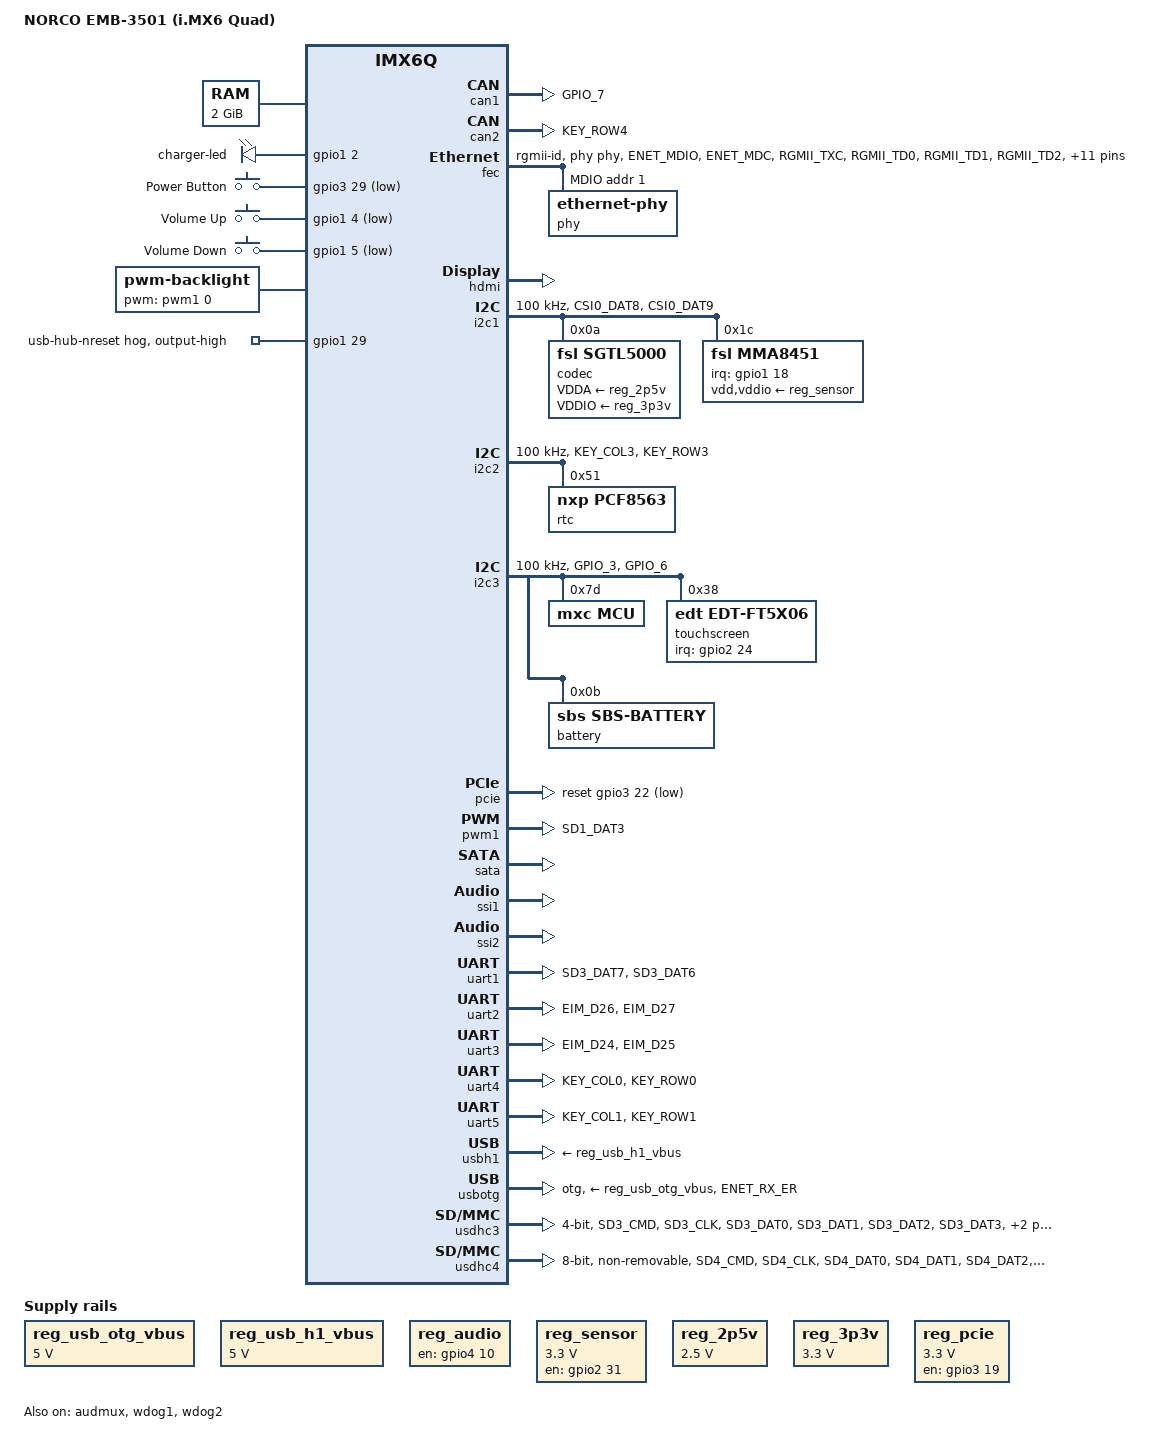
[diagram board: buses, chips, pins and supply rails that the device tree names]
/*
 * NORCO EMB-3501 (i.MX6Q) - board device tree, mainline (6.18) flavour
 *
 * Reconstructed from a decompiled DTB of Linux 3.14.52 (NXP imx_3.14.52_1.1.0_ga),
 * then reviewed against mainline bindings and a 6.18.63 Armbian boot log.
 * Vendor-only nodes with no mainline driver (mxcfb, fsl,lcd, v4l2 capture/output,
 * dcic, max8903 vendor binding, gpio-init, gpio-reset) were removed; see the
 * review notes for what each one did and what replaces it.
 *
 * Copyright 2012 Freescale Semiconductor, Inc.
 * Copyright 2011 Linaro Ltd.
 *
 * The code contained herein is licensed under the GNU General Public
 * License. You may obtain a copy of the GNU General Public License
 * Version 2 or later at the following locations:
 *
 * http://www.opensource.org/licenses/gpl-license.html
 * http://www.gnu.org/copyleft/gpl.html
 */

/dts-v1/;

#include <dt-bindings/gpio/gpio.h>
#include <dt-bindings/input/input.h>
#include <dt-bindings/interrupt-controller/irq.h>
#include <dt-bindings/clock/imx6qdl-clock.h>
#include "imx6q.dtsi"

/ {
	model = "NORCO EMB-3501 (i.MX6 Quad)";
	/* sabresd kept as fallback so anything matching on it keeps working */
	compatible = "norco,emb3501", "fsl,imx6q-sabresd", "fsl,imx6q";

	chosen {
		stdout-path = &uart1;
	};

	/*
	 * U-Boot rewrites this node from the detected RAM, which hid two bugs:
	 * the 1 GiB size and the missing device_type (the kernel ignores a
	 * memory node without it).
	 */
	memory@10000000 {
		device_type = "memory";
		reg = <0x10000000 0x80000000>;
	};

	/* NORCO addition; no mainline consumer, kept for userspace tools */
	board-info {
		compatible = "imx6qdl-sabresd,model";

		model_info {
			compatible = "imx6qdl-sabresd,model_special";
			model_number = "3501";
		};
	};

	leds {
		compatible = "gpio-leds";

		/*
		 * Was linux,default-trigger = "max8903-charger-charging", which
		 * only existed in the vendor charger driver. Pick a trigger from
		 * the power-supply that ends up driving the charger.
		 */
		charger-led {
			gpios = <&gpio1 2 GPIO_ACTIVE_HIGH>;
			default-state = "off";
			retain-state-suspended;
		};
	};

	regulators {
		compatible = "simple-bus";
		#address-cells = <1>;
		#size-cells = <0>;

		/*
		 * Unlike stock SABRE-SD, the USB VBUS regulators have no GPIO here
		 * (GPIO3_IO22 and GPIO1_IO29 are PCIe / USB-hub resets), so these
		 * are plain fixed supplies.
		 */
		reg_usb_otg_vbus: regulator@0 {
			compatible = "regulator-fixed";
			reg = <0>;
			regulator-name = "usb_otg_vbus";
			regulator-min-microvolt = <5000000>;
			regulator-max-microvolt = <5000000>;
		};

		reg_usb_h1_vbus: regulator@1 {
			compatible = "regulator-fixed";
			reg = <1>;
			regulator-name = "usb_h1_vbus";
			regulator-min-microvolt = <5000000>;
			regulator-max-microvolt = <5000000>;
		};

		/*
		 * Leftover from the WM8962 reference design, nothing consumes it.
		 * Kept because it drives GPIO4_IO10 low at boot exactly as the
		 * vendor blob did; remove once that pin's real role is known.
		 */
		reg_audio: regulator@2 {
			compatible = "regulator-fixed";
			reg = <2>;
			regulator-name = "wm8962-supply";
			gpio = <&gpio4 10 GPIO_ACTIVE_HIGH>;
			enable-active-high;
		};

		reg_sensor: regulator@3 {
			compatible = "regulator-fixed";
			reg = <3>;
			regulator-name = "sensor-supply";
			regulator-min-microvolt = <3300000>;
			regulator-max-microvolt = <3300000>;
			gpio = <&gpio2 31 GPIO_ACTIVE_HIGH>;
			startup-delay-us = <500>;
			enable-active-high;
		};

		/* SGTL5000 analog / IO rails (board addition) */
		reg_2p5v: regulator@4 {
			compatible = "regulator-fixed";
			reg = <4>;
			regulator-name = "2P5V";
			regulator-min-microvolt = <2500000>;
			regulator-max-microvolt = <2500000>;
			regulator-always-on;
		};

		reg_3p3v: regulator@5 {
			compatible = "regulator-fixed";
			reg = <5>;
			regulator-name = "3P3V";
			regulator-min-microvolt = <3300000>;
			regulator-max-microvolt = <3300000>;
			regulator-always-on;
		};

		/* was "power-on-gpio" on &pcie (vendor property) */
		reg_pcie: regulator@6 {
			compatible = "regulator-fixed";
			reg = <6>;
			regulator-name = "mpcie_3v3";
			regulator-min-microvolt = <3300000>;
			regulator-max-microvolt = <3300000>;
			gpio = <&gpio3 19 GPIO_ACTIVE_HIGH>;
			enable-active-high;
		};
	};

	gpio-keys {
		compatible = "gpio-keys";
		pinctrl-names = "default";
		pinctrl-0 = <&pinctrl_gpio_keys>;

		power {
			label = "Power Button";
			gpios = <&gpio3 29 GPIO_ACTIVE_LOW>;
			wakeup-source;
			linux,code = <KEY_POWER>;
		};

		volume-up {
			label = "Volume Up";
			gpios = <&gpio1 4 GPIO_ACTIVE_LOW>;
			wakeup-source;
			linux,code = <KEY_VOLUMEUP>;
		};

		volume-down {
			label = "Volume Down";
			gpios = <&gpio1 5 GPIO_ACTIVE_LOW>;
			wakeup-source;
			linux,code = <KEY_VOLUMEDOWN>;
		};
	};

	sound {
		compatible = "fsl,imx6q-sabresd-sgtl5000",
			     "fsl,imx-audio-sgtl5000";
		model = "imx6q-sabresd-sgtl5000";
		/* was the vendor property "cpu-dai"; the driver wants ssi-controller */
		ssi-controller = <&ssi1>;
		audio-codec = <&codec>;
		audio-routing =
			"MIC_IN", "Mic Jack",
			"Mic Jack", "Mic Bias",
			"Headphone Jack", "HP_OUT";
		mux-int-port = <1>;
		mux-ext-port = <4>;
	};

	backlight {
		compatible = "pwm-backlight";
		/* <channel period flags>: provider has #pwm-cells = <3> */
		pwms = <&pwm1 0 5000000 0>;
		brightness-levels = <0 4 8 16 32 64 128 255>;
		default-brightness-level = <7>;
		status = "okay";
	};
};

/*
 * NORCO "gpio-init" pins (driver not in mainline). The pads are still muxed
 * as GPIO in pinctrl_hog, but nothing drives them any more. Pin, flag:
 *   GPIO5_2 L, GPIO3_21 H, GPIO6_31 H, GPIO5_20 H, GPIO2_25 L, GPIO5_9 H,
 *   GPIO3_18 L, GPIO3_16 L, GPIO2_30 L, GPIO4_10 L, GPIO7_12 L, GPIO3_17 L,
 *   GPIO1_16 L, GPIO1_17 L, GPIO1_19 L; reset-gpios GPIO5_1 (listed twice)
 * Capture their real levels on the vendor kernel (/sys/kernel/debug/gpio)
 * and turn them into gpio-hog nodes.
 */

/* USB hub reset (was a vendor "gpio-reset" node). nRESET: high = running. */
&gpio1 {
	usb-hub-reset {
		gpio-hog;
		gpios = <29 GPIO_ACTIVE_HIGH>;
		output-high;
		line-name = "usb-hub-nreset";
	};
};

&audmux {
	pinctrl-names = "default";
	pinctrl-0 = <&pinctrl_audmux>;
	status = "okay";
};

/*
 * TODO(hardware): CAN1 RX (GPIO_8) and CAN2 TX (KEY_COL4) are claimed as
 * plain GPIO in pinctrl_hog, so each controller is only half wired. If CAN
 * is used, drop those two pads from the hog and add the full TX/RX pairs here.
 */
&can1 {
	pinctrl-names = "default";
	pinctrl-0 = <&pinctrl_flexcan1>;
	status = "okay";
};

&can2 {
	pinctrl-names = "default";
	pinctrl-0 = <&pinctrl_flexcan2>;
	status = "okay";
};

/* SPI-NOR on ECSPI1: disabled in the blob; no pinctrl group yet */
&ecspi1 {
	fsl,spi-num-chipselects = <1>;
	cs-gpios = <&gpio4 9 GPIO_ACTIVE_HIGH>;
	status = "disabled";

	flash@0 {
		#address-cells = <1>;
		#size-cells = <1>;
		compatible = "st,m25p32", "jedec,spi-nor";
		spi-max-frequency = <20000000>;
		reg = <0>;
	};
};

&fec {
	pinctrl-names = "default";
	pinctrl-0 = <&pinctrl_enet>;
	/*
	 * Same layout as mainline imx6qdl-sabresd.dtsi (AR8031 at address 1).
	 * rgmii-id: the AR803x driver sets the RGMII delays from phy-mode, so
	 * plain "rgmii" leaves both delays off.
	 */
	phy-mode = "rgmii-id";
	phy-handle = <&phy>;
	phy-reset-gpios = <&gpio1 25 GPIO_ACTIVE_LOW>;
	phy-reset-duration = <10>;
	phy-reset-post-delay = <20>;
	fsl,magic-packet;
	status = "okay";

	mdio {
		#address-cells = <1>;
		#size-cells = <0>;

		phy: ethernet-phy@1 {
			reg = <1>;
			/*
			 * The PHY feeds 125 MHz from CLK_25M into the ENET_REF_CLK
			 * pad. The old kernel quirk that enabled it is gone, so this
			 * property has to do it (otherwise the pin stays at 25 MHz).
			 */
			qca,clk-out-frequency = <125000000>;
			/* was phy-reset-gpios on the FEC node (deprecated) */
			// reset-gpios = <&gpio1 25 GPIO_ACTIVE_LOW>;
			// reset-assert-us = <10000>;
		};
	};
};

&hdmi {
	/* The NXP board DTS placed the HDMI EDID device on I2C3. */
	ddc-i2c-bus = <&i2c3>;
	status = "okay";
};

&i2c1 {
	clock-frequency = <100000>;
	pinctrl-names = "default";
	pinctrl-0 = <&pinctrl_i2c1>;
	status = "okay";

	codec: sgtl5000@a {
		compatible = "fsl,sgtl5000";
		reg = <0x0a>;
		/* was the raw number 201; vendor and mainline headers differ */
		clocks = <&clks IMX6QDL_CLK_CKO>;
		VDDA-supply = <&reg_2p5v>;
		VDDIO-supply = <&reg_3p3v>;
		/* VDDD-supply: add if the board has an external 1.8 V rail */
	};

	mma8451@1c {
		compatible = "fsl,mma8451";
		reg = <0x1c>;
		vdd-supply = <&reg_sensor>;
		vddio-supply = <&reg_sensor>;
		interrupt-parent = <&gpio1>;
		interrupts = <18 IRQ_TYPE_LEVEL_LOW>;
	};
};

&i2c2 {
	clock-frequency = <100000>;
	pinctrl-names = "default";
	pinctrl-0 = <&pinctrl_i2c2>;
	status = "okay";

	rtc@51 {
		compatible = "nxp,pcf8563";
		reg = <0x51>;
	};

	/* Resistive-touch SKU only: nothing answers at 0x48 on this unit */
	tsc2007@48 {
		compatible = "ti,tsc2007";
		reg = <0x48>;
		pinctrl-names = "default";
		pinctrl-0 = <&pinctrl_tsc2007>;
		interrupt-parent = <&gpio3>;
		interrupts = <31 IRQ_TYPE_EDGE_FALLING>;
		ti,x-plate-ohms = <660>;
		status = "disabled";
	};

	/*
	 * TODO(hardware): the boot log reports "unrecognized pfuze chip ID".
	 * Read reg 0x00 (i2cget -f -y 1 0x08 0x00) and check which PFUZE
	 * variant, if any, is fitted. Do NOT point &cpu0 supplies at these
	 * regulators until the driver probes.
	 */
	pfuze100@8 {
		compatible = "fsl,pfuze100";
		reg = <0x08>;
		status = "disabled";

		regulators {
			sw1ab {
				regulator-min-microvolt = <300000>;
				regulator-max-microvolt = <1875000>;
				regulator-boot-on;
				regulator-always-on;
				regulator-ramp-delay = <6250>;
			};

			sw1c {
				regulator-min-microvolt = <300000>;
				regulator-max-microvolt = <1875000>;
				regulator-boot-on;
				regulator-always-on;
				regulator-ramp-delay = <6250>;
			};

			sw2 {
				regulator-min-microvolt = <800000>;
				regulator-max-microvolt = <3300000>;
				regulator-boot-on;
				regulator-always-on;
			};

			sw3a {
				regulator-min-microvolt = <400000>;
				regulator-max-microvolt = <1975000>;
				regulator-boot-on;
				regulator-always-on;
			};

			sw3b {
				regulator-min-microvolt = <400000>;
				regulator-max-microvolt = <1975000>;
				regulator-boot-on;
				regulator-always-on;
			};

			sw4 {
				regulator-min-microvolt = <800000>;
				regulator-max-microvolt = <3300000>;
			};

			swbst {
				regulator-min-microvolt = <5000000>;
				regulator-max-microvolt = <5150000>;
			};

			vsnvs {
				regulator-min-microvolt = <1000000>;
				regulator-max-microvolt = <3000000>;
				regulator-boot-on;
				regulator-always-on;
			};

			vrefddr {
				regulator-boot-on;
				regulator-always-on;
			};

			vgen1 {
				regulator-min-microvolt = <800000>;
				regulator-max-microvolt = <1550000>;
			};

			vgen2 {
				regulator-min-microvolt = <800000>;
				regulator-max-microvolt = <1550000>;
			};

			vgen3 {
				regulator-min-microvolt = <1800000>;
				regulator-max-microvolt = <3300000>;
			};

			vgen4 {
				regulator-min-microvolt = <1800000>;
				regulator-max-microvolt = <3300000>;
				regulator-always-on;
			};

			vgen5 {
				regulator-min-microvolt = <1800000>;
				regulator-max-microvolt = <3300000>;
				regulator-always-on;
			};

			vgen6 {
				regulator-min-microvolt = <1800000>;
				regulator-max-microvolt = <3300000>;
				regulator-always-on;
			};
		};
	};
};

&i2c3 {
	clock-frequency = <100000>;
	pinctrl-names = "default";
	pinctrl-0 = <&pinctrl_i2c3>;
	status = "okay";

	/* vendor MCU, no mainline driver */
	mcu@7d {
		compatible = "mxc,mcu";
		reg = <0x7d>;
	};

	/*
	 * Was "ft,ft5x0x_ts" (vendor driver). edt-ft5x06 is the mainline
	 * driver for the FT5x06 family.
	 * TODO(hardware): confirm the controller and the panel size.
	 */
	touchscreen@38 {
		compatible = "edt,edt-ft5x06";
		reg = <0x38>;
		pinctrl-names = "default";
		pinctrl-0 = <&pinctrl_ft5x0x>;
		interrupt-parent = <&gpio2>;
		interrupts = <24 IRQ_TYPE_EDGE_FALLING>;
		touchscreen-size-x = <800>;
		touchscreen-size-y = <480>;
	};

	/* bq40z50 is SBS-compliant; the generic SBS driver handles it */
	battery@b {
		compatible = "sbs,sbs-battery";
		reg = <0x0b>;
	};
};

&iomuxc {
	pinctrl-names = "default";
	pinctrl-0 = <&pinctrl_hog>;

	imx6qdl-sabresd {
		pinctrl_hog: hoggrp {
			fsl,pins = <
				MX6QDL_PAD_NANDF_D0__GPIO2_IO00              0x80000000
				MX6QDL_PAD_EIM_BCLK__GPIO6_IO31              0x80000000
				MX6QDL_PAD_NANDF_D1__GPIO2_IO01              0x80000000
				MX6QDL_PAD_NANDF_D2__GPIO2_IO02              0x80000000
				MX6QDL_PAD_NANDF_D3__GPIO2_IO03              0x80000000
				MX6QDL_PAD_GPIO_0__CCM_CLKO1                 0x130b0
				MX6QDL_PAD_NANDF_CLE__GPIO6_IO07             0x80000000
				MX6QDL_PAD_NANDF_ALE__GPIO6_IO08             0x80000000
				MX6QDL_PAD_ENET_TXD1__GPIO1_IO29             0x80000000
				MX6QDL_PAD_EIM_D22__GPIO3_IO22               0x80000000
				MX6QDL_PAD_ENET_CRS_DV__GPIO1_IO25           0x80000000
				MX6QDL_PAD_ENET_RXD0__GPIO1_IO27             0x80000000
				MX6QDL_PAD_EIM_A25__GPIO5_IO02               0x80000000
				MX6QDL_PAD_EIM_D23__GPIO3_IO23               0x80000000
				MX6QDL_PAD_EIM_EB3__GPIO2_IO31               0x80000000
				MX6QDL_PAD_SD3_RST__GPIO7_IO08               0x80000000
				MX6QDL_PAD_EIM_DA9__GPIO3_IO09               0x80000000
				MX6QDL_PAD_GPIO_1__WDOG2_B                   0x80000000
				MX6QDL_PAD_NANDF_CS0__GPIO6_IO11             0x80000000
				MX6QDL_PAD_NANDF_CS1__GPIO6_IO14             0x80000000
				MX6QDL_PAD_CSI0_PIXCLK__GPIO5_IO18           0x80000000
				MX6QDL_PAD_EIM_OE__GPIO2_IO25                0x80000000
				MX6QDL_PAD_SD1_CMD__GPIO1_IO18               0x80000000
				MX6QDL_PAD_SD1_CLK__GPIO1_IO20               0x80000000
				MX6QDL_PAD_EIM_CS0__GPIO2_IO23               0x80000000
				MX6QDL_PAD_KEY_COL4__GPIO4_IO14              0x80000000
				MX6QDL_PAD_KEY_ROW2__GPIO4_IO11              0x80000000
				MX6QDL_PAD_GPIO_9__GPIO1_IO09                0x80000000
				MX6QDL_PAD_GPIO_2__GPIO1_IO02                0x80000000
				MX6QDL_PAD_GPIO_4__GPIO1_IO04                0x80000000
				MX6QDL_PAD_GPIO_8__GPIO1_IO08                0x80000000
				MX6QDL_PAD_EIM_D18__GPIO3_IO18               0x1b0b0
				MX6QDL_PAD_EIM_D16__GPIO3_IO16               0x1b0b0
				MX6QDL_PAD_EIM_EB2__GPIO2_IO30               0x1b0b0
				MX6QDL_PAD_KEY_COL2__GPIO4_IO10              0x1b0b0
				MX6QDL_PAD_GPIO_17__GPIO7_IO12               0x1b0b0
				MX6QDL_PAD_EIM_D17__GPIO3_IO17               0x1b0b0
				MX6QDL_PAD_SD1_DAT0__GPIO1_IO16              0x1b0b0
				MX6QDL_PAD_SD1_DAT1__GPIO1_IO17              0x1b0b0
				MX6QDL_PAD_SD1_DAT2__GPIO1_IO19              0x1b0b0
				/* PCIe slot power (reg_pcie); not muxed by the blob, relied on U-Boot */
				MX6QDL_PAD_EIM_D19__GPIO3_IO19               0x80000000
			>;
		};

		/* AUD4 on SD2_DAT0..3 -> SGTL5000 */
		pinctrl_audmux: audmuxgrp {
			fsl,pins = <
				MX6QDL_PAD_SD2_DAT0__AUD4_RXD                0x130b0
				MX6QDL_PAD_SD2_DAT1__AUD4_TXFS               0x130b0
				MX6QDL_PAD_SD2_DAT2__AUD4_TXD                0x110b0
				MX6QDL_PAD_SD2_DAT3__AUD4_TXC                0x130b0
			>;
		};

		pinctrl_enet: enetgrp {
			fsl,pins = <
				MX6QDL_PAD_ENET_MDIO__ENET_MDIO              0x1b0b0
				MX6QDL_PAD_ENET_MDC__ENET_MDC                0x1b0b0
				MX6QDL_PAD_RGMII_TXC__RGMII_TXC              0x1b0b0
				MX6QDL_PAD_RGMII_TD0__RGMII_TD0              0x1b0b0
				MX6QDL_PAD_RGMII_TD1__RGMII_TD1              0x1b0b0
				MX6QDL_PAD_RGMII_TD2__RGMII_TD2              0x1b0b0
				MX6QDL_PAD_RGMII_TD3__RGMII_TD3              0x1b0b0
				MX6QDL_PAD_RGMII_TX_CTL__RGMII_TX_CTL        0x1b0b0
				MX6QDL_PAD_ENET_REF_CLK__ENET_TX_CLK         0x1a0b1
				MX6QDL_PAD_RGMII_RXC__RGMII_RXC              0x1b0b0
				MX6QDL_PAD_RGMII_RD0__RGMII_RD0              0x1b0b0
				MX6QDL_PAD_RGMII_RD1__RGMII_RD1              0x1b0b0
				MX6QDL_PAD_RGMII_RD2__RGMII_RD2              0x1b0b0
				MX6QDL_PAD_RGMII_RD3__RGMII_RD3              0x1b0b0
				MX6QDL_PAD_RGMII_RX_CTL__RGMII_RX_CTL        0x1b0b0
				MX6QDL_PAD_GPIO_16__ENET_REF_CLK             0x4001b0a8
			>;
		};

		/* TX only; GPIO_8 (RX) is claimed as GPIO in pinctrl_hog */
		pinctrl_flexcan1: flexcan1grp {
			fsl,pins = <
				MX6QDL_PAD_GPIO_7__FLEXCAN1_TX               0x80000000
			>;
		};

		/* RX only; KEY_COL4 (TX) is claimed as GPIO in pinctrl_hog */
		pinctrl_flexcan2: flexcan2grp {
			fsl,pins = <
				MX6QDL_PAD_KEY_ROW4__FLEXCAN2_RX             0x80000000
			>;
		};

		pinctrl_ft5x0x: mx6_ft5x0x_pins {
			fsl,pins = <
				MX6QDL_PAD_EIM_CS1__GPIO2_IO24               0x80000000
			>;
		};

		pinctrl_gpio_keys: gpio_keysgrp {
			fsl,pins = <
				MX6QDL_PAD_EIM_D29__GPIO3_IO29               0x80000000
				MX6QDL_PAD_GPIO_5__GPIO1_IO05                0x80000000
			>;
		};

		pinctrl_i2c1: i2c1grp {
			fsl,pins = <
				MX6QDL_PAD_CSI0_DAT8__I2C1_SDA               0x4001b8b1
				MX6QDL_PAD_CSI0_DAT9__I2C1_SCL               0x4001b8b1
			>;
		};

		pinctrl_i2c2: i2c2grp {
			fsl,pins = <
				MX6QDL_PAD_KEY_COL3__I2C2_SCL                0x4001b8b1
				MX6QDL_PAD_KEY_ROW3__I2C2_SDA                0x4001b8b1
			>;
		};

		pinctrl_i2c3: i2c3grp {
			fsl,pins = <
				MX6QDL_PAD_GPIO_3__I2C3_SCL                  0x4001b8b1
				MX6QDL_PAD_GPIO_6__I2C3_SDA                  0x4001b8b1
			>;
		};

		/*
		 * Parallel RGB pads. Unused on mainline until a panel node is
		 * added (the vendor lcd@0 / mxcfb3 nodes consumed this).
		 */
		pinctrl_ipu1_disp0: ipu1grp {
			fsl,pins = <
				MX6QDL_PAD_DI0_DISP_CLK__IPU1_DI0_DISP_CLK   0x10
				MX6QDL_PAD_DI0_PIN15__IPU1_DI0_PIN15         0x10
				MX6QDL_PAD_DI0_PIN2__IPU1_DI0_PIN02          0x10
				MX6QDL_PAD_DI0_PIN3__IPU1_DI0_PIN03          0x10
				MX6QDL_PAD_DI0_PIN4__IPU1_DI0_PIN04          0x80000000
				MX6QDL_PAD_DISP0_DAT0__IPU1_DISP0_DATA00     0x10
				MX6QDL_PAD_DISP0_DAT1__IPU1_DISP0_DATA01     0x10
				MX6QDL_PAD_DISP0_DAT2__IPU1_DISP0_DATA02     0x10
				MX6QDL_PAD_DISP0_DAT3__IPU1_DISP0_DATA03     0x10
				MX6QDL_PAD_DISP0_DAT4__IPU1_DISP0_DATA04     0x10
				MX6QDL_PAD_DISP0_DAT5__IPU1_DISP0_DATA05     0x10
				MX6QDL_PAD_DISP0_DAT6__IPU1_DISP0_DATA06     0x10
				MX6QDL_PAD_DISP0_DAT7__IPU1_DISP0_DATA07     0x10
				MX6QDL_PAD_DISP0_DAT8__IPU1_DISP0_DATA08     0x10
				MX6QDL_PAD_DISP0_DAT9__IPU1_DISP0_DATA09     0x10
				MX6QDL_PAD_DISP0_DAT10__IPU1_DISP0_DATA10    0x10
				MX6QDL_PAD_DISP0_DAT11__IPU1_DISP0_DATA11    0x10
				MX6QDL_PAD_DISP0_DAT12__IPU1_DISP0_DATA12    0x10
				MX6QDL_PAD_DISP0_DAT13__IPU1_DISP0_DATA13    0x10
				MX6QDL_PAD_DISP0_DAT14__IPU1_DISP0_DATA14    0x10
				MX6QDL_PAD_DISP0_DAT15__IPU1_DISP0_DATA15    0x10
				MX6QDL_PAD_DISP0_DAT16__IPU1_DISP0_DATA16    0x10
				MX6QDL_PAD_DISP0_DAT17__IPU1_DISP0_DATA17    0x10
				MX6QDL_PAD_DISP0_DAT18__IPU1_DISP0_DATA18    0x10
				MX6QDL_PAD_DISP0_DAT19__IPU1_DISP0_DATA19    0x10
				MX6QDL_PAD_DISP0_DAT20__IPU1_DISP0_DATA20    0x10
				MX6QDL_PAD_DISP0_DAT21__IPU1_DISP0_DATA21    0x10
				MX6QDL_PAD_DISP0_DAT22__IPU1_DISP0_DATA22    0x10
				MX6QDL_PAD_DISP0_DAT23__IPU1_DISP0_DATA23    0x10
			>;
		};

		/* not referenced by any node */
		pinctrl_ipu1_csi0: ipu1grp-2 {
			fsl,pins = <
				MX6QDL_PAD_CSI0_DAT12__IPU1_CSI0_DATA12      0x80000000
				MX6QDL_PAD_CSI0_DAT13__IPU1_CSI0_DATA13      0x80000000
				MX6QDL_PAD_CSI0_DAT14__IPU1_CSI0_DATA14      0x80000000
				MX6QDL_PAD_CSI0_DAT15__IPU1_CSI0_DATA15      0x80000000
				MX6QDL_PAD_CSI0_DAT16__IPU1_CSI0_DATA16      0x80000000
				MX6QDL_PAD_CSI0_DAT17__IPU1_CSI0_DATA17      0x80000000
				MX6QDL_PAD_CSI0_DAT18__IPU1_CSI0_DATA18      0x80000000
				MX6QDL_PAD_CSI0_DAT19__IPU1_CSI0_DATA19      0x80000000
				MX6QDL_PAD_CSI0_DATA_EN__IPU1_CSI0_DATA_EN   0x80000000
				MX6QDL_PAD_CSI0_MCLK__IPU1_CSI0_HSYNC        0x80000000
				MX6QDL_PAD_CSI0_VSYNC__IPU1_CSI0_VSYNC       0x80000000
			>;
		};

		pinctrl_pwm1: pwm1grp {
			fsl,pins = <
				MX6QDL_PAD_SD1_DAT3__PWM1_OUT                0x1b0b1
			>;
		};

		pinctrl_tsc2007: mx6-tsc2007-pins {
			fsl,pins = <
				MX6QDL_PAD_EIM_D31__GPIO3_IO31               0x80000000
			>;
		};

		pinctrl_uart1: uart1grp {
			fsl,pins = <
				MX6QDL_PAD_SD3_DAT7__UART1_TX_DATA           0x1b0b1
				MX6QDL_PAD_SD3_DAT6__UART1_RX_DATA           0x1b0b1
			>;
		};

		pinctrl_uart2: uart2grp {
			fsl,pins = <
				MX6QDL_PAD_EIM_D26__UART2_TX_DATA            0x1b0b1
				MX6QDL_PAD_EIM_D27__UART2_RX_DATA            0x1b0b1
			>;
		};

		pinctrl_uart3: uart3grp {
			fsl,pins = <
				MX6QDL_PAD_EIM_D24__UART3_TX_DATA            0x1b0b1
				MX6QDL_PAD_EIM_D25__UART3_RX_DATA            0x1b0b1
			>;
		};

		pinctrl_uart4: uart4grp {
			fsl,pins = <
				MX6QDL_PAD_KEY_COL0__UART4_TX_DATA           0x1b0b1
				MX6QDL_PAD_KEY_ROW0__UART4_RX_DATA           0x1b0b1
			>;
		};

		pinctrl_uart5: uart5grp {
			fsl,pins = <
				MX6QDL_PAD_KEY_COL1__UART5_TX_DATA           0x1b0b1
				MX6QDL_PAD_KEY_ROW1__UART5_RX_DATA           0x1b0b1
			>;
		};

		pinctrl_usbotg: usbotggrp {
			fsl,pins = <
				MX6QDL_PAD_ENET_RX_ER__USB_OTG_ID            0x17059
			>;
		};

		/* CLK/CMD/DAT4-7 only, see &usdhc2 */
		pinctrl_usdhc2: usdhc2grp {
			fsl,pins = <
				MX6QDL_PAD_SD2_CMD__SD2_CMD                  0x17059
				MX6QDL_PAD_SD2_CLK__SD2_CLK                  0x10059
				MX6QDL_PAD_NANDF_D4__SD2_DATA4               0x17059
				MX6QDL_PAD_NANDF_D5__SD2_DATA5               0x17059
				MX6QDL_PAD_NANDF_D6__SD2_DATA6               0x17059
				MX6QDL_PAD_NANDF_D7__SD2_DATA7               0x17059
			>;
		};

		pinctrl_usdhc3: usdhc3grp {
			fsl,pins = <
				MX6QDL_PAD_SD3_CMD__SD3_CMD                  0x17059
				MX6QDL_PAD_SD3_CLK__SD3_CLK                  0x10059
				MX6QDL_PAD_SD3_DAT0__SD3_DATA0               0x17059
				MX6QDL_PAD_SD3_DAT1__SD3_DATA1               0x17059
				MX6QDL_PAD_SD3_DAT2__SD3_DATA2               0x17059
				MX6QDL_PAD_SD3_DAT3__SD3_DATA3               0x17059
				MX6QDL_PAD_SD3_DAT5__GPIO7_IO00              0x80000000
			>;
		};

		/* eMMC */
		pinctrl_usdhc4: usdhc4grp {
			fsl,pins = <
				MX6QDL_PAD_SD4_CMD__SD4_CMD                  0x17059
				MX6QDL_PAD_SD4_CLK__SD4_CLK                  0x10059
				MX6QDL_PAD_SD4_DAT0__SD4_DATA0               0x17059
				MX6QDL_PAD_SD4_DAT1__SD4_DATA1               0x17059
				MX6QDL_PAD_SD4_DAT2__SD4_DATA2               0x17059
				MX6QDL_PAD_SD4_DAT3__SD4_DATA3               0x17059
				MX6QDL_PAD_SD4_DAT4__SD4_DATA4               0x17059
				MX6QDL_PAD_SD4_DAT5__SD4_DATA5               0x17059
				MX6QDL_PAD_SD4_DAT6__SD4_DATA6               0x17059
				MX6QDL_PAD_SD4_DAT7__SD4_DATA7               0x17059
			>;
		};
	};
};

/*
 * TODO(hardware): both channels run the SABRE-SD "hsd100pxn1" timing label
 * with 800x480 values. 65 MHz over 1076x520 total is about 116 Hz, which is
 * not a sane refresh for an 800x480 panel. Check the panel datasheet and the
 * vendor blob; a 7" 800x480 panel is normally ~33 MHz. If only one LVDS
 * connector is wired, disable lvds-channel@1.
 */
&ldb {
	status = "disabled";

	lvds-channel@0 {
		fsl,data-mapping = "spwg";
		fsl,data-width = <18>;
		primary;
		status = "okay";

		display-timings {
			native-mode = <&timing0>;
			timing0: hsd100pxn1 {
				clock-frequency = <65000000>;
				hactive = <800>;
				vactive = <480>;
				hback-porch = <256>;
				hfront-porch = <10>;
				vback-porch = <10>;
				vfront-porch = <28>;
				hsync-len = <10>;
				vsync-len = <2>;
			};
		};
	};

	lvds-channel@1 {
		fsl,data-mapping = "spwg";
		fsl,data-width = <18>;
		status = "okay";

		display-timings {
			native-mode = <&timing1>;
			timing1: hsd100pxn1 {
				clock-frequency = <65000000>;
				hactive = <800>;
				vactive = <480>;
				hback-porch = <256>;
				hfront-porch = <10>;
				vback-porch = <10>;
				vfront-porch = <28>;
				hsync-len = <10>;
				vsync-len = <2>;
			};
		};
	};
};

/* No camera on MIPI-CSI: probe only fails with -ENOTCONN (-107) */
&mipi_csi {
	status = "disabled";
};

&pcie {
	/* was vendor "power-on-gpio" GPIO3_19 (now reg_pcie) plus a gpio-reset node */
	reset-gpios = <&gpio3 22 GPIO_ACTIVE_LOW>;
	vpcie-supply = <&reg_pcie>;
	status = "okay";
};

&pwm1 {
	pinctrl-names = "default";
	pinctrl-0 = <&pinctrl_pwm1>;
	status = "okay";
};

&sata {
	status = "okay";
};

&ssi1 {
	fsl,mode = "i2s-slave";
	status = "okay";
};

&ssi2 {
	fsl,mode = "i2s-slave";
	status = "okay";
};

&uart1 {
	pinctrl-names = "default";
	pinctrl-0 = <&pinctrl_uart1>;
	status = "okay";
};

&uart2 {
	pinctrl-names = "default";
	pinctrl-0 = <&pinctrl_uart2>;
	status = "okay";
};

&uart3 {
	pinctrl-names = "default";
	pinctrl-0 = <&pinctrl_uart3>;
	status = "okay";
};

&uart4 {
	pinctrl-names = "default";
	pinctrl-0 = <&pinctrl_uart4>;
	status = "okay";
};

&uart5 {
	pinctrl-names = "default";
	pinctrl-0 = <&pinctrl_uart5>;
	status = "okay";
};

&usbh1 {
	vbus-supply = <&reg_usb_h1_vbus>;
	/* no over-current pad is muxed; silences "No over current polarity defined" */
	disable-over-current;
	status = "okay";
};

&usbotg {
	vbus-supply = <&reg_usb_otg_vbus>;
	pinctrl-names = "default";
	pinctrl-0 = <&pinctrl_usbotg>;
	dr_mode = "otg";
	disable-over-current;
	srp-disable;
	hnp-disable;
	adp-disable;
	status = "okay";
};

/*
 * Disabled: SD2_DAT0..3 are taken by AUDMUX (AUD4) for the SGTL5000, so the
 * controller has no usable data lines (bus-width 8 with only DAT4-7 muxed
 * cannot work). The alias numbering (mmc1 = usdhc2) does not change.
 */
&usdhc2 {
	pinctrl-names = "default";
	pinctrl-0 = <&pinctrl_usdhc2>;
	bus-width = <8>;
	cd-gpios = <&gpio2 2 GPIO_ACTIVE_HIGH>;
	wp-gpios = <&gpio2 3 GPIO_ACTIVE_HIGH>;
	no-1-8-v;
	keep-power-in-suspend;
	enable-sdio-wakeup;
	status = "disabled";
};

/* SD card slot (mmcblk2 on the running system) */
&usdhc3 {
	pinctrl-names = "default";
	pinctrl-0 = <&pinctrl_usdhc3>;
	bus-width = <4>;
	/* card present = pin low, same as the custom U-Boot; was ACTIVE_HIGH */
	cd-gpios = <&gpio7 0 GPIO_ACTIVE_LOW>;
	/* no WP switch on the slot */
	disable-wp;
	no-1-8-v;
	keep-power-in-suspend;
	enable-sdio-wakeup;
	status = "okay";
};

/* eMMC */
&usdhc4 {
	pinctrl-names = "default";
	pinctrl-0 = <&pinctrl_usdhc4>;
	bus-width = <8>;
	non-removable;
	no-1-8-v;
	keep-power-in-suspend;
	status = "okay";
};

&wdog1 {
	status = "okay";
};

&wdog2 {
	status = "okay";
};

&snvs_poweroff {
	status = "okay";
};
